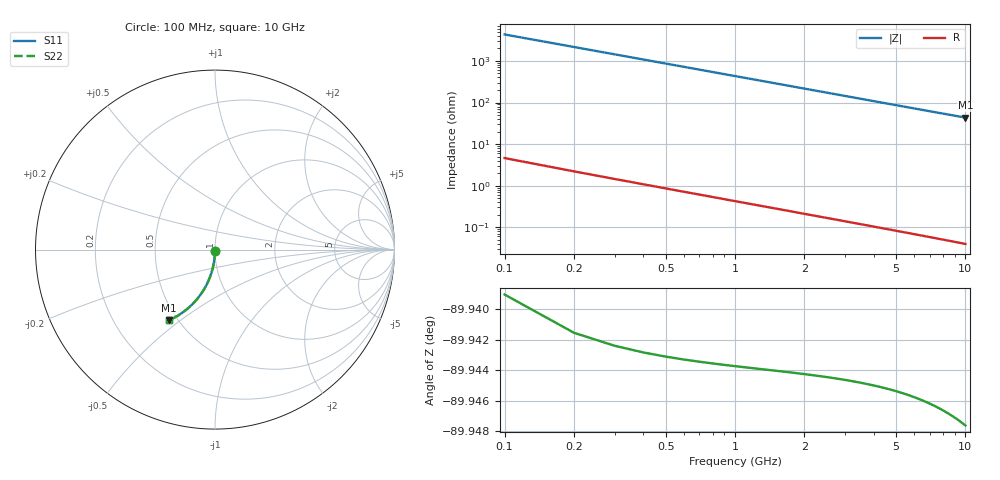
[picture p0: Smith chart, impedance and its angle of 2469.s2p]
# Hz S RI R 50.00
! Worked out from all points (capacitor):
!   100 points, 100 MHz to 10 GHz, reference 50 ohm
!   read as one part in shunt: C = 367 fF near 100 MHz
!   lowest |Z| = 43.4 ohm at 10 GHz (marker M1)
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1e8  7.13e-05 -0.00535  0.9998 -0.0062  0.9998 -0.0062  7.13e-05 -0.00535
2e8  -3.29e-05 -0.0107  0.9997 -0.0124  0.9997 -0.0124  -3.29e-05 -0.0107
3e8  -0.000204 -0.016  0.9996 -0.0186  0.9996 -0.0186  -0.000204 -0.016
4e8  -0.000441 -0.0214  0.9993 -0.0248  0.9993 -0.0248  -0.000441 -0.0214
5e8  -0.000744 -0.0267  0.999 -0.031  0.999 -0.031  -0.000744 -0.0267
6e8  -0.00111 -0.032  0.9986 -0.0371  0.9986 -0.0371  -0.00111 -0.032
7e8  -0.00155 -0.0374  0.9982 -0.0433  0.9982 -0.0433  -0.00155 -0.0374
8e8  -0.00205 -0.0427  0.9977 -0.0495  0.9977 -0.0495  -0.00205 -0.0427
9e8  -0.00262 -0.048  0.9971 -0.0557  0.9971 -0.0557  -0.00262 -0.048
1.1e9  -0.00395 -0.0586  0.9958 -0.068  0.9958 -0.068  -0.00395 -0.0586
1.4e9  -0.00643 -0.0744  0.9933 -0.0863  0.9933 -0.0863  -0.00643 -0.0744
1.8e9  -0.0106 -0.0953  0.989 -0.1106  0.989 -0.1106  -0.0106 -0.0953
2.1e9  -0.0145 -0.1108  0.9851 -0.1286  0.9851 -0.1286  -0.0145 -0.1108
2.5e9  -0.0204 -0.1311  0.9791 -0.1524  0.9791 -0.1524  -0.0204 -0.1311
2.9e9  -0.0273 -0.151  0.9721 -0.1757  0.9721 -0.1757  -0.0273 -0.151
3.4e9  -0.0373 -0.1752  0.9621 -0.2043  0.9621 -0.2043  -0.0373 -0.1752
4.2e9  -0.056 -0.2123  0.9431 -0.2482  0.9431 -0.2482  -0.056 -0.2123
5.1e9  -0.0807 -0.2509  0.9181 -0.2947  0.9181 -0.2947  -0.0807 -0.2509
5.9e9  -0.1055 -0.2823  0.893 -0.333  0.893 -0.333  -0.1055 -0.2823
6.7e9  -0.1324 -0.3106  0.8657 -0.3684  0.8657 -0.3684  -0.1324 -0.3106
8.4e9  -0.1948 -0.3602  0.8023 -0.4331  0.8023 -0.4331  -0.1948 -0.3602
1e10  -0.2568 -0.3938  0.7392 -0.4811  0.7392 -0.4811  -0.2568 -0.3938
